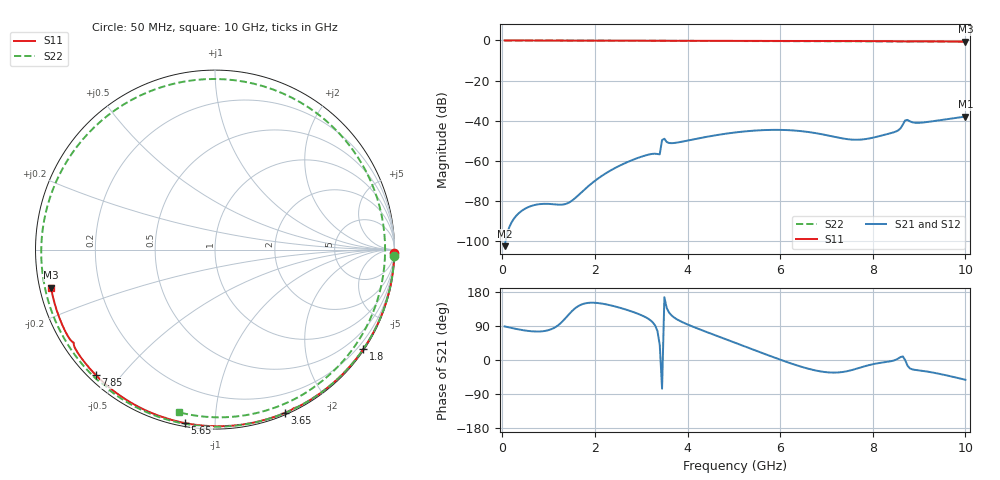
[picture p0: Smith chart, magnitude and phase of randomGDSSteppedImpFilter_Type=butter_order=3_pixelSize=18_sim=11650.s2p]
! freq	dB(S11)	phase(S11)	dB(S12)	phase(S12)
!  dB(S21)	phase(S21)	dB(S22)	phase(S22)
!S-par simulation data
#  GHz  S  DB  R 50
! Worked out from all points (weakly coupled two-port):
!   200 points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, 50 MHz to 10 GHz, reference 50 ohm
!   highest |S21| = -38.01 dB at 10 GHz (marker M1); lowest = -102.7 dB at 50 MHz (marker M2)
!   lowest |S11| = -0.6 dB at 10 GHz (marker M3), VSWR 31.09, Z = 1.63 - j5.74 ohm
!   |S11| at or under -10 dB: nowhere
!   |S22| runs from -0.6 to 0.0 dB; largest |S21 - S12| = 0
!   S11 on the Smith chart (normalised r, x): 50 MHz: open; 1.8 GHz: 0.03, -3.28; 3.65 GHz: 0.02, -1.51; 5.65 GHz: 0.02, -0.84; 7.85 GHz: 0.02, -0.43; 10 GHz: 0.03, -0.11
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0.05  -0.00 -1.0  -102.70 88.6  -102.70 88.6  -0.01 -1.9
0.75  -0.02 -14.3  -81.90 75.1  -81.90 75.1  -0.03 -27.7
1.5  -0.04 -28.4  -80.07 128.5  -80.07 128.5  -0.07 -55.2
1.75  -0.04 -33.0  -74.98 148.2  -74.98 148.2  -0.08 -64.4
1.8  -0.04 -33.9  -73.93 149.7  -73.93 149.7  -0.09 -66.2
2.6  -0.06 -48.5  -61.78 135.7  -61.78 135.7  -0.13 -95.8
3.1  -0.08 -57.4  -57.34 112.5  -57.34 112.5  -0.16 -114.9
3.4  -0.09 -62.7  -56.84 39.9  -56.84 39.9  -0.18 -126.8
3.45  -0.12 -63.6  -49.71 -75.6  -49.71 -75.6  -0.23 -128.8
3.65  -0.09 -66.9  -51.27 118.3  -51.27 118.3  -0.19 -136.8
4.4  -0.11 -79.5  -48.17 74.5  -48.17 74.5  -0.26 -169.8
5.05  -0.14 -90.2  -45.87 44.5  -45.87 44.5  -0.33 157.3
5.65  -0.17 -99.8  -44.75 16.7  -44.75 16.7  -0.40 122.4
6.2  -0.20 -108.3  -44.81 -7.7  -44.81 -7.7  -0.44 86.8
6.7  -0.23 -116.1  -46.01 -25.8  -46.01 -25.8  -0.46 53.2
7.25  -0.27 -124.5  -48.48 -32.9  -48.48 -32.9  -0.47 17.6
7.85  -0.32 -133.6  -49.21 -15.7  -49.21 -15.7  -0.47 -16.9
8.35  -0.37 -141.3  -46.52 -4.2  -46.52 -4.2  -0.48 -41.5
8.55  -0.40 -144.5  -44.88 3.9  -44.88 3.9  -0.50 -50.3
8.7  -0.51 -146.6  -39.87 -0.3  -39.87 -0.3  -0.50 -56.6
9  -0.44 -151.0  -41.12 -27.4  -41.12 -27.4  -0.52 -68.6
10  -0.56 -166.9  -38.01 -52.2  -38.01 -52.2  -0.65 -102.6
